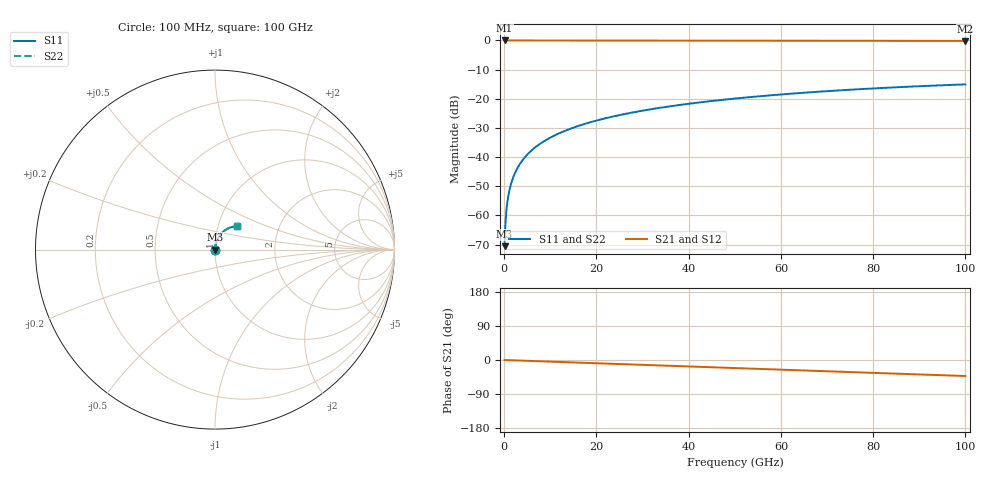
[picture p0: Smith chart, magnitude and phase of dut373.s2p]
! Touchstone file exported from HFSS 2026.1.0
!  File:  C:/ffzhzh/LocalFiles/Ansys_Project_Files/temp_train_TSV_373_1783510373_9504.aedt
!  Generated:  07:34:04 PM Jul  8, 2026
!  Design:  TSV
!  Project:  temp_train_TSV_373_1783510373_9504
! Variables:
!  h_bsmrdl = 2um
!  h_ox = 20um
!  h_rdl = 5um
!  h_sub = 79.66um
!  h_tmrdl = 5um
!  h_tsv = 79.66um
!  h_via = 3um
!  l_bsmrdl = 300um
!  l_sub = 417.38um
!  l_tmrdl = 200um
!  m_sub = 200um
!  pitch = 50.53um
!  r_tsv = 8.69um
!  s_tmrdl = 10um
!  w_bsmrdl = 18um
!  w_sub = 500um
!  w_tmrdl = 12um
!  x_tsv_center1 = 206um
!  x_tsv_center2 = 524um
!  x_tsv_center3 = 736um
!  x_tsv_center4 = 1054um
!  x_tsv_center5 = 1266um
!  x_tsv_center6 = 1584um
# GHz S MA R 50.000000
! Terminal data exported
! Port[1] = TSV1_1_T1
! Port[2] = TSV1_1_T2
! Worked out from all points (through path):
!   1000 points, 100 MHz to 100 GHz, reference 50 ohm
!   highest |S21| = 0.00 dB at 100 MHz (marker M1); lowest = -0.2 dB at 100 GHz (marker M2)
!   group delay of S21, straight-line fit = 1.17 ps
!   lowest |S11| = -70.5 dB at 100 MHz (marker M3), VSWR 1.00, Z = 50 + j0.0254 ohm
!   |S11| at or under -10 dB: start of sweep to end of sweep
!   |S22| runs from -70.5 to -15.1 dB; largest |S21 - S12| = 4.4e-15
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0.1  0.0002974 58.6  0.9998 -0.0  0.9998 -0.0  0.0002974 58.6
! Gamma 0 0 0 0
! Port Impedance 50 0 50 0
0.3  0.0007721 76.2  0.9998 -0.1  0.9998 -0.1  0.0007721 76.2
0.7  0.001703 81.0  0.9997 -0.3  0.9997 -0.3  0.001703 81.0
0.8  0.00193 81.5  0.9997 -0.4  0.9997 -0.4  0.00193 81.5
1  0.002378 82.2  0.9997 -0.4  0.9997 -0.4  0.002378 82.2
1.3  0.003045 82.9  0.9996 -0.6  0.9996 -0.6  0.003045 82.9
1.7  0.003927 83.5  0.9996 -0.7  0.9996 -0.7  0.003927 83.5
2.3  0.005237 83.9  0.9995 -1.0  0.9995 -1.0  0.005237 83.9
3  0.00675 84.2  0.9994 -1.3  0.9994 -1.3  0.00675 84.2
3.8  0.008465 84.3  0.9994 -1.7  0.9994 -1.7  0.008465 84.3
4.8  0.0106 84.3  0.9993 -2.1  0.9993 -2.1  0.0106 84.3
6  0.01315 84.1  0.9992 -2.6  0.9992 -2.6  0.01315 84.1
8.8  0.01906 83.5  0.9989 -3.8  0.9989 -3.8  0.01906 83.5
12.4  0.02661 82.3  0.9986 -5.3  0.9986 -5.3  0.02661 82.3
16.8  0.03574 80.7  0.9981 -7.2  0.9981 -7.2  0.03574 80.7
24.2  0.0509 77.9  0.9972 -10.4  0.9972 -10.4  0.0509 77.9
33.4  0.06931 74.3  0.9958 -14.3  0.9958 -14.3  0.06931 74.3
41.2  0.08444 71.1  0.9944 -17.6  0.9944 -17.6  0.08444 71.1
50.1  0.1011 67.4  0.9927 -21.4  0.9927 -21.4  0.1011 67.4
66.7  0.1298 60.6  0.989 -28.4  0.989 -28.4  0.1298 60.6
83.4  0.1553 53.7  0.9851 -35.3  0.9851 -35.3  0.1553 53.7
100  0.1764 46.9  0.9812 -42.3  0.9812 -42.3  0.1764 46.9
